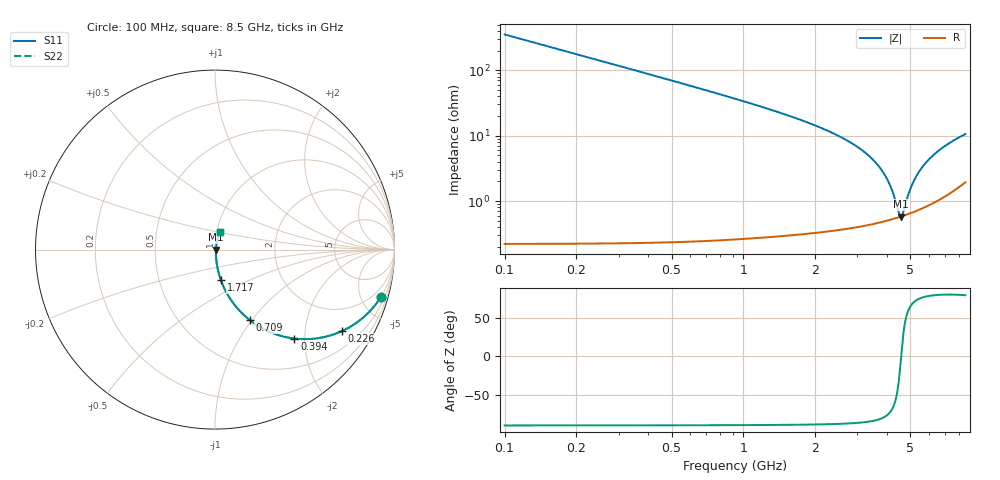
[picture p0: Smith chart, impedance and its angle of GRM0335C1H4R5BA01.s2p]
!Murata Part Number: GRM0335C1H4R5BA01
!These Parameters are Measured in Series Mode Connection
!Data Generated on Mar 30, 2021
!  o--ll--o
!Port1  Port2
!  o------o
!Operation Temp=25[degC], DC Bias Voltage=0[V]
!Freq. Start=100[MHz] Stop=9[GHz] 401[Steps]
# Hz S RI R 50
!Freq.(Hz) S11(Real) S11(Imag) S21(Real) S21(Imag) S12(Real) S12(Imag) S22(Real) S22(Imag)
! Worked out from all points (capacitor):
!   401 points, 100 MHz to 8.5 GHz, reference 50 ohm
!   read as one part in series: C = 4.5 pF near 142 MHz
!   lowest |Z| = 580 mohm at 4.573 GHz (marker M1)
!   series resonance near 4.575 GHz, so ESL is about 270 pH
!   S11 on the Smith chart (normalised r, x): 100 MHz: 1.00, -7.07; 226 MHz: 1.00, -3.12; 394 MHz: 1.00, -1.78; 709 MHz: 1.00, -0.97; 1.717 GHz: 1.01, -0.35; 8.5 GHz: 1.04, +0.21
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1e8  0.9258 -0.2618  0.0742 0.2618  0.0742 0.2618  0.9258 -0.2618
2.26e8  0.7088 -0.4536  0.2912 0.4536  0.2912 0.4536  0.7088 -0.4536
3.94e8  0.4426 -0.4954  0.5574 0.4954  0.5574 0.4954  0.4426 -0.4954
5.41e8  0.2941 -0.4538  0.7059 0.4538  0.7059 0.4538  0.2941 -0.4538
7.09e8  0.1927 -0.3919  0.8073 0.3919  0.8073 0.3919  0.1927 -0.3919
1.024e9  0.099 -0.2947  0.901 0.2947  0.901 0.2947  0.099 -0.2947
1.507e9  0.0445 -0.1992  0.9555 0.1992  0.9555 0.1992  0.0445 -0.1992
1.717e9  0.0331 -0.1705  0.9669 0.1705  0.9669 0.1705  0.0331 -0.1705
2.914e9  0.00904 -0.0714  0.991 0.0714  0.991 0.0714  0.00904 -0.0714
3.397e9  0.0065 -0.0464  0.9935 0.0464  0.9935 0.0464  0.0065 -0.0464
3.775e9  0.00562 -0.0297  0.9944 0.0297  0.9944 0.0297  0.00562 -0.0297
4.069e9  0.0054 -0.0181  0.9946 0.0181  0.9946 0.0181  0.0054 -0.0181
4.3e9  0.00547 -0.00956  0.9945 0.00956  0.9945 0.00956  0.00547 -0.00956
4.489e9  0.00565 -0.00293  0.9944 0.00293  0.9944 0.00293  0.00565 -0.00293
4.573e9  0.00576 -7.1e-05  0.9942 7.1e-05  0.9942 7.1e-05  0.00576 -7.1e-05
4.657e9  0.0059 0.00273  0.9941 -0.00273  0.9941 -0.00273  0.0059 0.00273
4.909e9  0.00642 0.0109  0.9936 -0.0109  0.9936 -0.0109  0.00642 0.0109
5.119e9  0.00697 0.0173  0.993 -0.0173  0.993 -0.0173  0.00697 0.0173
5.707e9  0.00906 0.0343  0.9909 -0.0343  0.9909 -0.0343  0.00906 0.0343
6.316e9  0.012 0.0504  0.988 -0.0504  0.988 -0.0504  0.012 0.0504
7.114e9  0.017 0.0698  0.983 -0.0698  0.983 -0.0698  0.017 0.0698
8.5e9  0.0291 0.099  0.9709 -0.099  0.9709 -0.099  0.0291 0.099
